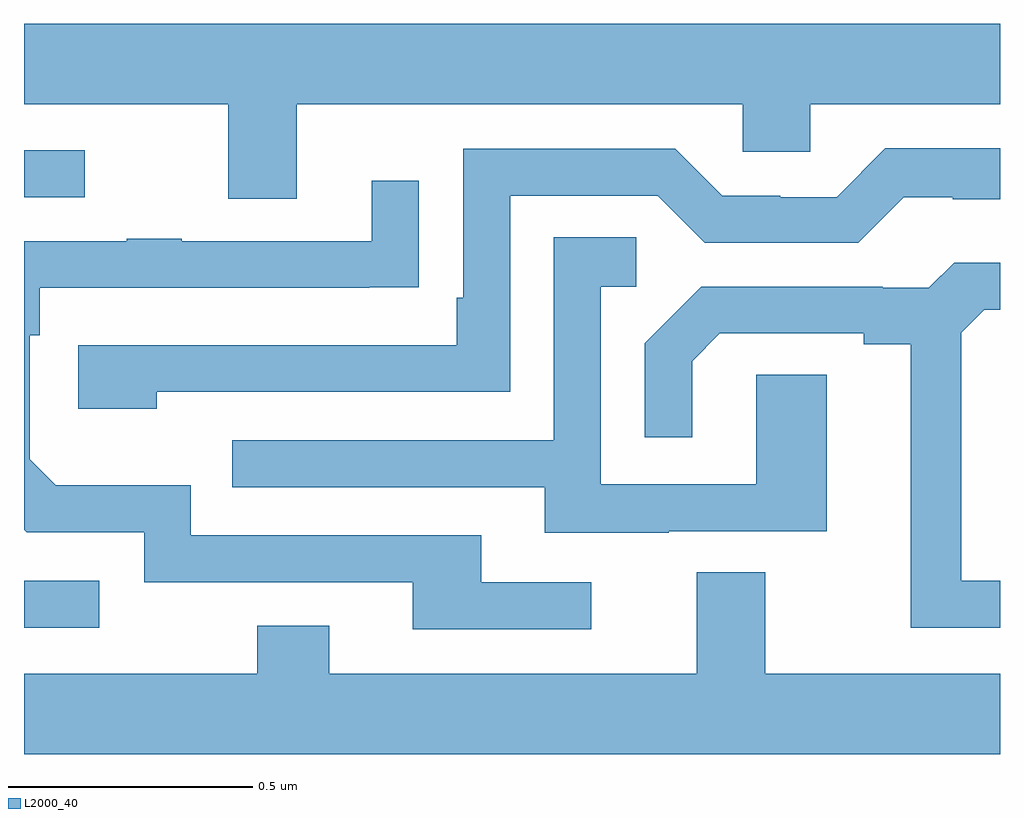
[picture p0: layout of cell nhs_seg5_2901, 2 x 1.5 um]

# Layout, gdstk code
import gdstk
lib = gdstk.Library(unit=1e-6, precision=1e-09)
def R(c, l, rs):  # rectangles x0, y0, x1, y1
    for r in rs: c.add(gdstk.rectangle(r[:2], r[2:], *l))
def P(c, l, *ps):  # polygons
    for p in ps: c.add(gdstk.Polygon(p, *l))
L2000_40 = (2000, 40)

nhs_seg5_2901 = lib.new_cell('nhs_seg5_2901')
R(nhs_seg5_2901, L2000_40, [(150,854.355,150.154,854.451), (150,855.237,150.124,855.333)])
P(nhs_seg5_2901, L2000_40, [(150.559,855.428),(151.473,855.428),(151.473,855.33),(151.611,855.33),(151.611,855.428),(152,855.428),(152,855.592),(150,855.592),(150,855.428),(150.419,855.428),(150.419,855.234),(150.559,855.234)],
  [(150.272,854.838),(150.996,854.838),(150.996,855.24),(151.299,855.24),(151.395,855.144),(151.71,855.144),(151.803,855.237),(151.903,855.237),(151.903,855.233),(152,855.233),(152,855.337),(151.765,855.337),(151.665,855.237),(151.55,855.237),(151.55,855.24),(151.431,855.24),(151.335,855.336),(150.9,855.336),(150.9,855.031),(150.887,855.031),(150.887,854.934),(150.111,854.934),(150.111,854.804),(150.272,854.804)],
  [(151.162,854.448),(150.937,854.448),(150.937,854.544),(150.342,854.544),(150.342,854.647),(150.065,854.647),(150.012,854.7),(150.012,854.954),(150.032,854.954),(150.032,855.051),(150.707,855.051),(150.707,855.052),(150.809,855.052),(150.809,855.271),(150.713,855.271),(150.713,855.147),(150.323,855.147),(150.323,855.152),(150.211,855.152),(150.211,855.147),(150,855.147),(150,854.556),(150.006,854.55),(150.246,854.55),(150.246,854.448),(150.797,854.448),(150.797,854.352),(151.162,854.352)],
  [(151.321,854.553),(151.645,854.553),(151.645,854.873),(151.5,854.873),(151.5,854.649),(151.182,854.649),(151.182,855.054),(151.255,855.054),(151.255,855.155),(151.086,855.155),(151.086,854.739),(150.427,854.739),(150.427,854.643),(151.067,854.643),(151.067,854.549),(151.321,854.549)],
  [(152,854.451),(151.921,854.451),(151.921,854.959),(151.968,855.006),(152,855.006),(152,855.103),(151.906,855.103),(151.854,855.051),(151.76,855.051),(151.76,855.054),(151.388,855.054),(151.272,854.938),(151.272,854.745),(151.369,854.745),(151.369,854.901),(151.426,854.958),(151.721,854.958),(151.721,854.936),(151.817,854.936),(151.817,854.355),(152,854.355)],
  [(152,854.26),(151.519,854.26),(151.519,854.468),(151.379,854.468),(151.379,854.26),(150.625,854.26),(150.625,854.359),(150.478,854.359),(150.478,854.26),(150,854.26),(150,854.096),(152,854.096)])

lib.write_gds('nhs_seg5_2901.gds')
